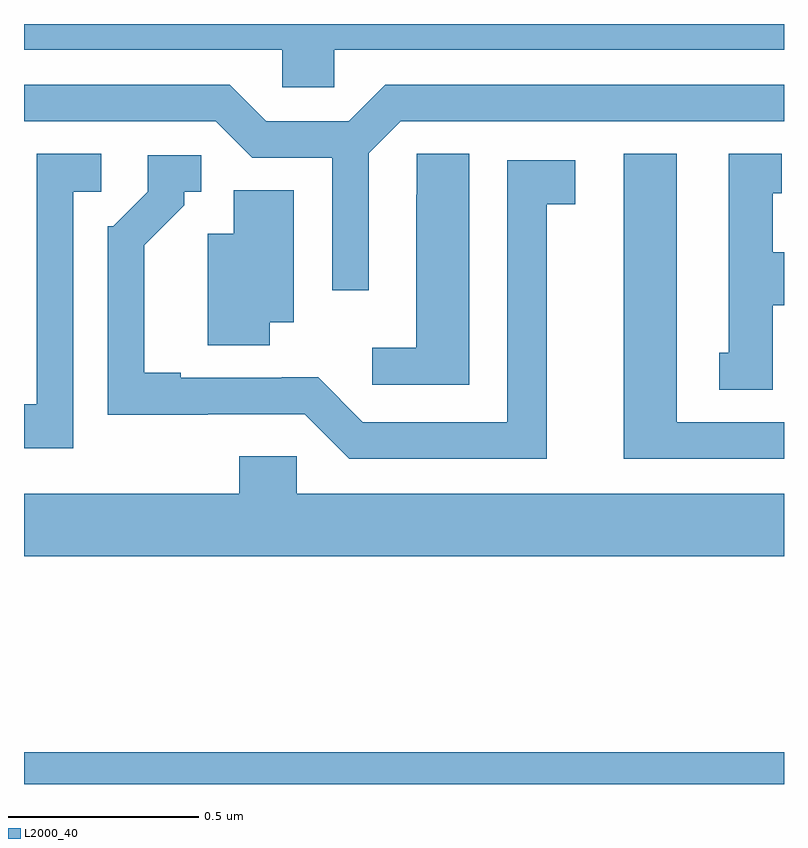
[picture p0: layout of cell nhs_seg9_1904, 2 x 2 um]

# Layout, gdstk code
import gdstk
lib = gdstk.Library(unit=1e-6, precision=1e-09)
def R(c, l, rs):  # rectangles x0, y0, x1, y1
    for r in rs: c.add(gdstk.rectangle(r[:2], r[2:], *l))
def P(c, l, *ps):  # polygons
    for p in ps: c.add(gdstk.Polygon(p, *l))
L2000_40 = (2000, 40)

nhs_seg9_1904 = lib.new_cell('nhs_seg9_1904')
R(nhs_seg9_1904, L2000_40, [(134,1182.5,136,1182.584)])
P(nhs_seg9_1904, L2000_40, [(134.817,1184.432),(136,1184.432),(136,1184.5),(134,1184.5),(134,1184.432),(134.679,1184.432),(134.679,1184.334),(134.817,1184.334)],
  [(134.907,1184.16),(134.991,1184.244),(136,1184.244),(136,1184.34),(134.951,1184.34),(134.855,1184.244),(134.637,1184.244),(134.541,1184.34),(134,1184.34),(134,1184.244),(134.505,1184.244),(134.601,1184.148),(134.811,1184.148),(134.811,1183.8),(134.907,1183.8)],
  [(135.172,1184.159),(135.033,1184.159),(135.033,1184.051),(135.032,1184.051),(135.032,1183.648),(134.916,1183.648),(134.916,1183.551),(135.172,1183.551)],
  [(134.13,1184.058),(134.203,1184.058),(134.203,1184.159),(134.033,1184.159),(134.033,1183.499),(134,1183.499),(134,1183.383),(134.13,1183.383)],
  [(135.97,1183.76),(136,1183.76),(136,1183.9),(135.97,1183.9),(135.97,1184.055),(135.994,1184.055),(135.994,1184.158),(135.854,1184.158),(135.854,1183.635),(135.83,1183.635),(135.83,1183.537),(135.97,1183.537)],
  [(136,1183.452),(135.718,1183.452),(135.718,1184.158),(135.578,1184.158),(135.578,1183.356),(136,1183.356)],
  [(135.376,1184.026),(135.451,1184.026),(135.451,1184.142),(135.272,1184.142),(135.272,1183.452),(134.892,1183.452),(134.774,1183.57),(134.678,1183.57),(134.678,1183.569),(134.413,1183.569),(134.413,1183.582),(134.317,1183.582),(134.317,1183.918),(134.422,1184.023),(134.422,1184.058),(134.467,1184.058),(134.467,1184.154),(134.325,1184.154),(134.325,1184.058),(134.235,1183.968),(134.22,1183.968),(134.22,1183.472),(134.483,1183.472),(134.483,1183.473),(134.739,1183.473),(134.856,1183.356),(135.376,1183.356)],
  [(134.647,1183.715),(134.71,1183.715),(134.71,1184.063),(134.552,1184.063),(134.552,1183.948),(134.483,1183.948),(134.483,1183.654),(134.647,1183.654)],
  [(136,1183.264),(134.718,1183.264),(134.718,1183.362),(134.567,1183.362),(134.567,1183.264),(134,1183.264),(134,1183.1),(136,1183.1)])

lib.write_gds('nhs_seg9_1904.gds')
